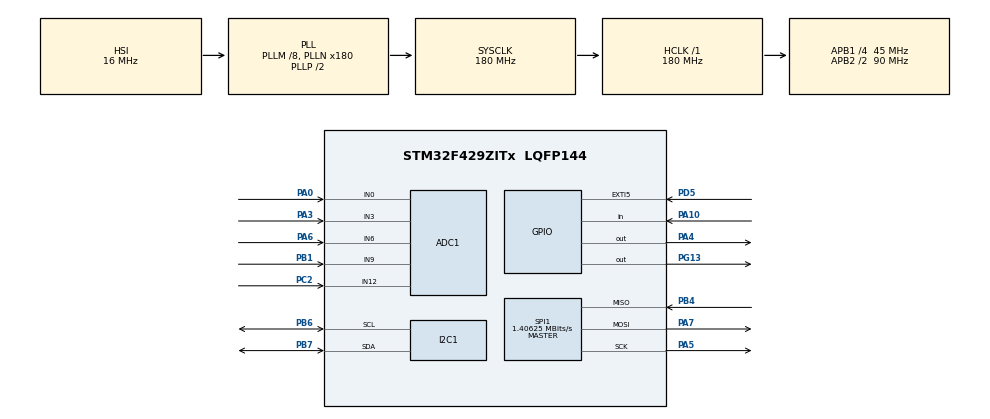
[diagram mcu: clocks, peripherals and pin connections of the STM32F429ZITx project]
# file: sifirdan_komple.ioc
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ADC1.Channel-0\#ChannelRegularConversion=ADC_CHANNEL_0
ADC1.Channel-1\#ChannelRegularConversion=ADC_CHANNEL_3
ADC1.Channel-2\#ChannelRegularConversion=ADC_CHANNEL_6
ADC1.Channel-3\#ChannelRegularConversion=ADC_CHANNEL_9
ADC1.Channel-4\#ChannelRegularConversion=ADC_CHANNEL_12
ADC1.ContinuousConvMode=ENABLE
ADC1.InjNumberOfConversion=0
ADC1.NbrOfConversion=5
ADC1.NbrOfConversionFlag=1
ADC1.Rank-0\#ChannelRegularConversion=1
ADC1.Rank-1\#ChannelRegularConversion=2
ADC1.Rank-2\#ChannelRegularConversion=3
ADC1.Rank-3\#ChannelRegularConversion=4
ADC1.Rank-4\#ChannelRegularConversion=5
ADC1.SamplingTime-0\#ChannelRegularConversion=ADC_SAMPLETIME_3CYCLES
ADC1.SamplingTime-1\#ChannelRegularConversion=ADC_SAMPLETIME_3CYCLES
ADC1.SamplingTime-2\#ChannelRegularConversion=ADC_SAMPLETIME_3CYCLES
ADC1.SamplingTime-3\#ChannelRegularConversion=ADC_SAMPLETIME_3CYCLES
ADC1.SamplingTime-4\#ChannelRegularConversion=ADC_SAMPLETIME_3CYCLES
ADC1.ScanConvMode=ENABLE
ADC1.master=1
Mcu.Family=STM32F4
Mcu.Name=STM32F429ZITx
Mcu.Package=LQFP144
NVIC.PriorityGroup=NVIC_PRIORITYGROUP_4
PA0/WKUP.Signal=ADCx_IN0
PA10.GPIO_PuPd=GPIO_PULLDOWN
PA10.Signal=GPIO_Input
PA3.Signal=ADCx_IN3
PA4.Signal=GPIO_Output
PA5.Mode=Full_Duplex_Master
PA5.Signal=SPI1_SCK
PA6.Signal=ADCx_IN6
PA7.Mode=Full_Duplex_Master
PA7.Signal=SPI1_MOSI
PB1.Signal=ADCx_IN9
PB4.Mode=Full_Duplex_Master
PB4.Signal=SPI1_MISO
PB6.Mode=I2C
PB6.Signal=I2C1_SCL
PB7.Mode=I2C
PB7.Signal=I2C1_SDA
PC2.Signal=ADCx_IN12
PD5.Signal=GPXTI5
PG13.Signal=GPIO_Output
PH0/OSC_IN.Mode=HSE-External-Oscillator
PH0/OSC_IN.Signal=RCC_OSC_IN
PH1/OSC_OUT.Mode=HSE-External-Oscillator
PH1/OSC_OUT.Signal=RCC_OSC_OUT
ProjectManager.HeapSize=0x200
ProjectManager.StackSize=0x800
ProjectManager.TargetToolchain=STM32CubeIDE
RCC.48MHZClocksFreq_Value=90000000
RCC.AHBFreq_Value=180000000
RCC.APB1CLKDivider=RCC_HCLK_DIV4
RCC.APB1Freq_Value=45000000
RCC.APB1TimFreq_Value=90000000
RCC.APB2CLKDivider=RCC_HCLK_DIV2
RCC.APB2Freq_Value=90000000
RCC.APB2TimFreq_Value=180000000
RCC.CortexFreq_Value=180000000
RCC.HCLKFreq_Value=180000000
RCC.HSE_VALUE=8000000
RCC.HSI_VALUE=16000000
RCC.LSE_VALUE=32768
RCC.PLLM=8
RCC.PLLN=180
RCC.SYSCLKFreq_VALUE=180000000
RCC.SYSCLKSource=RCC_SYSCLKSOURCE_PLLCLK
RCC.VCOOutputFreq_Value=360000000
SH.ADCx_IN0.0=ADC1_IN0,IN0
SH.ADCx_IN12.0=ADC1_IN12,IN12
SH.ADCx_IN3.0=ADC1_IN3,IN3
SH.ADCx_IN6.0=ADC1_IN6,IN6
SH.ADCx_IN9.0=ADC1_IN9,IN9
SPI1.BaudRatePrescaler=SPI_BAUDRATEPRESCALER_64
SPI1.CalculateBaudRate=1.40625 MBits/s
SPI1.DataSize=SPI_DATASIZE_16BIT
SPI1.Direction=SPI_DIRECTION_2LINES
SPI1.Mode=SPI_MODE_MASTER
SPI1.VirtualType=VM_MASTER
STMicroelectronics.X-CUBE-AI.5.1.2.ActivationBufferSizeList=208,208
STMicroelectronics.X-CUBE-AI.5.1.2.HeapSize=0x200
STMicroelectronics.X-CUBE-AI.5.1.2.InternalRamActivationBufferMaxSize=AI_GLOVE_MODEL_DATA_ACTIVATIONS_SIZE
STMicroelectronics.X-CUBE-AI.5.1.2.LatestDirectoryUsed-60bdc9860b5cdbafc142abfa9211819a66cd725a07a54aaa1f05be5b7a78c88f=C\:\\Users\\Volkan\\Desktop\\KU SPRING 2023\\ELEC 491
STMicroelectronics.X-CUBE-AI.5.1.2.LatestDirectoryUsed-f183daf8f0f62c7416fb87e7cf1330cbf1399e4ca40a66bd235e36b9904d6a4b=C\:\\Users\\Volkan\\Desktop\\KU SPRING 2023\\ELEC 491
STMicroelectronics.X-CUBE-AI.5.1.2.MaximumNumberOfInputLayer=1
STMicroelectronics.X-CUBE-AI.5.1.2.MaximumNumberOfOutputLayer=1
STMicroelectronics.X-CUBE-AI.5.1.2.MaximumSizeOfInputLayer=AI_GLOVE_MODEL_IN_1_SIZE_BYTES
STMicroelectronics.X-CUBE-AI.5.1.2.MaximumSizeOfOutputLayer=AI_GLOVE_MODEL_OUT_1_SIZE_BYTES
STMicroelectronics.X-CUBE-AI.5.1.2.ModelActualCompression-60bdc9860b5cdbafc142abfa9211819a66cd725a07a54aaa1f05be5b7a78c88f=0.0
STMicroelectronics.X-CUBE-AI.5.1.2.ModelActualCompression-f183daf8f0f62c7416fb87e7cf1330cbf1399e4ca40a66bd235e36b9904d6a4b=0.0
STMicroelectronics.X-CUBE-AI.5.1.2.ModelCompression-60bdc9860b5cdbafc142abfa9211819a66cd725a07a54aaa1f05be5b7a78c88f=1
STMicroelectronics.X-CUBE-AI.5.1.2.ModelCompression-f183daf8f0f62c7416fb87e7cf1330cbf1399e4ca40a66bd235e36b9904d6a4b=1
STMicroelectronics.X-CUBE-AI.5.1.2.ModelFlashOccupation-60bdc9860b5cdbafc142abfa9211819a66cd725a07a54aaa1f05be5b7a78c88f=2308
STMicroelectronics.X-CUBE-AI.5.1.2.ModelFlashOccupation-f183daf8f0f62c7416fb87e7cf1330cbf1399e4ca40a66bd235e36b9904d6a4b=2308
STMicroelectronics.X-CUBE-AI.5.1.2.ModelHashList=f183daf8f0f62c7416fb87e7cf1330cbf1399e4ca40a66bd235e36b9904d6a4b;60bdc9860b5cdbafc142abfa9211819a66cd725a07a54aaa1f05be5b7a78c88f
STMicroelectronics.X-CUBE-AI.5.1.2.ModelKind-60bdc9860b5cdbafc142abfa9211819a66cd725a07a54aaa1f05be5b7a78c88f=TFLITE
STMicroelectronics.X-CUBE-AI.5.1.2.ModelKind-f183daf8f0f62c7416fb87e7cf1330cbf1399e4ca40a66bd235e36b9904d6a4b=TFLITE
STMicroelectronics.X-CUBE-AI.5.1.2.ModelMacc-60bdc9860b5cdbafc142abfa9211819a66cd725a07a54aaa1f05be5b7a78c88f=647
STMicroelectronics.X-CUBE-AI.5.1.2.ModelMacc-f183daf8f0f62c7416fb87e7cf1330cbf1399e4ca40a66bd235e36b9904d6a4b=647
STMicroelectronics.X-CUBE-AI.5.1.2.ModelName-60bdc9860b5cdbafc142abfa9211819a66cd725a07a54aaa1f05be5b7a78c88f=glove_model_1685668263535
STMicroelectronics.X-CUBE-AI.5.1.2.ModelName-f183daf8f0f62c7416fb87e7cf1330cbf1399e4ca40a66bd235e36b9904d6a4b=glove_model
STMicroelectronics.X-CUBE-AI.5.1.2.ModelNameList=glove_model,glove_model_1685668263535
STMicroelectronics.X-CUBE-AI.5.1.2.ModelRamOccupation-60bdc9860b5cdbafc142abfa9211819a66cd725a07a54aaa1f05be5b7a78c88f=208
STMicroelectronics.X-CUBE-AI.5.1.2.ModelRamOccupation-f183daf8f0f62c7416fb87e7cf1330cbf1399e4ca40a66bd235e36b9904d6a4b=208
STMicroelectronics.X-CUBE-AI.5.1.2.ModelStructureFile-60bdc9860b5cdbafc142abfa9211819a66cd725a07a54aaa1f05be5b7a78c88f=C\:\\Users\\Volkan\\Desktop\\KU SPRING 2023\\ELEC 491\\smart_glove.tflite
STMicroelectronics.X-CUBE-AI.5.1.2.ModelStructureFile-f183daf8f0f62c7416fb87e7cf1330cbf1399e4ca40a66bd235e36b9904d6a4b=C\:\\Users\\Volkan\\Desktop\\KU SPRING 2023\\ELEC 491\\smart_glove.tflite
STMicroelectronics.X-CUBE-AI.5.1.2.ModelType-60bdc9860b5cdbafc142abfa9211819a66cd725a07a54aaa1f05be5b7a78c88f=Saved model
STMicroelectronics.X-CUBE-AI.5.1.2.ModelType-f183daf8f0f62c7416fb87e7cf1330cbf1399e4ca40a66bd235e36b9904d6a4b=Saved model
STMicroelectronics.X-CUBE-AI.5.1.2.StackSize=0x800
STMicroelectronics.X-CUBE-AI.5.1.2.WorkingBufferStartAddrList=0xFFFFFFFF,0xFFFFFFFF
STMicroelectronics.X-CUBE-AI.5.1.2.XAaCUBEAaAICcArtificialOoIntelligenceJjCore=true
VP_CRC_VS_CRC.Mode=CRC_Activate
VP_STMicroelectronics.X-CUBE-AI_VS_ArtificialOoIntelligenceJjXAaCUBEAaAI_5.1.2.Mode=ArtificialOoIntelligenceJjXAaCUBEAaAI
board=custom

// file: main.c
/* USER CODE BEGIN Header */
/**
  ******************************************************************************
  * @file           : main.c
  * @brief          : Main program body
  ******************************************************************************
  * @attention
  *
  * Copyright (c) 2023 STMicroelectronics.
  * All rights reserved.
  *
  * This software is licensed under terms that can be found in the LICENSE file
  * in the root directory of this software component.
  * If no LICENSE file comes with this software, it is provided AS-IS.
  *
  ******************************************************************************
  */
/* USER CODE END Header */
#include "main.h"

/* USER CODE BEGIN Includes */
#include <stdio.h>
#include "ai_datatypes_defines.h"
#include "glove_model_data.h"
#include "glove_model.h"
#include "stm32f4xx_hal.h"
#include "TJ_MPU6050.h"
/* USER CODE END Includes */

ADC_HandleTypeDef hadc1;

CRC_HandleTypeDef hcrc;

I2C_HandleTypeDef hi2c1;

SPI_HandleTypeDef hspi1;

void SystemClock_Config(void);
static void MX_GPIO_Init(void);
static void MX_ADC1_Init(void);
static void MX_SPI1_Init(void);
static void MX_CRC_Init(void);
static void MX_I2C1_Init(void);

uint32_t getMax(ai_float out_data[]);
void modifyString(uint32_t data, uint8_t flexdata[4]);

/* USER CODE BEGIN PFP */
uint32_t flex_value1;
uint32_t flex_value2;
uint32_t flex_value3;
uint32_t flex_value4;
uint32_t flex_value5;

/* USER CODE END PFP */

/* USER CODE BEGIN 0 */
void ADC_Select_Channel0(void){
	ADC_ChannelConfTypeDef sConfig = {0};
	  sConfig.Channel = ADC_CHANNEL_0;
	  sConfig.Rank = 1;
	  sConfig.SamplingTime = ADC_SAMPLETIME_3CYCLES;
	  if (HAL_ADC_ConfigChannel(&hadc1, &sConfig) != HAL_OK)
	  {
	    Error_Handler();
	  }
}

void ADC_Select_Channel1(void){
	ADC_ChannelConfTypeDef sConfig = {0};

	  sConfig.Channel = ADC_CHANNEL_3;
	  sConfig.Rank = 1;
	  sConfig.SamplingTime = ADC_SAMPLETIME_3CYCLES;
	  if (HAL_ADC_ConfigChannel(&hadc1, &sConfig) != HAL_OK)
	  {
	    Error_Handler();
	  }
}

void ADC_Select_Channel2(void){
	ADC_ChannelConfTypeDef sConfig = {0};

	  sConfig.Channel = ADC_CHANNEL_6;
	  sConfig.Rank = 1;
	  sConfig.SamplingTime = ADC_SAMPLETIME_3CYCLES;
	  if (HAL_ADC_ConfigChannel(&hadc1, &sConfig) != HAL_OK)
	  {
	    Error_Handler();
	  }
}

void ADC_Select_Channel3(void){
	ADC_ChannelConfTypeDef sConfig = {0};

	  sConfig.Channel = ADC_CHANNEL_9;
	  sConfig.Rank = 1;
	  sConfig.SamplingTime = ADC_SAMPLETIME_3CYCLES;
	  if (HAL_ADC_ConfigChannel(&hadc1, &sConfig) != HAL_OK)
	  {
	    Error_Handler();
	  }
}

void ADC_Select_Channel4(void){
	ADC_ChannelConfTypeDef sConfig = {0};

	  sConfig.Channel = ADC_CHANNEL_12;
	  sConfig.Rank = 1;
	  sConfig.SamplingTime = ADC_SAMPLETIME_3CYCLES;
	  if (HAL_ADC_ConfigChannel(&hadc1, &sConfig) != HAL_OK)
	  {
	    Error_Handler();
	  }
}

/* USER CODE END 0 */

int main(void)
{
  /* USER CODE BEGIN 1 */
	MPU_ConfigTypeDef myMPUConfig;

	RawData_Def myMPUAccelRaw;
	RawData_Def myMPUGyroRaw;
	ScaledData_Def myMPUAccelScaled;
	ScaledData_Def myMPUGyroScaled;
  /* USER CODE END 1 */

  /* MCU Configuration--------------------------------------------------------*/

  /* Reset of all peripherals, Initializes the Flash interface and the Systick. */
  HAL_Init();

  /* Configure the system clock */
  SystemClock_Config();

  /* Initialize all configured peripherals */
  MX_GPIO_Init();
  MX_ADC1_Init();
  MX_SPI1_Init();
  MX_CRC_Init();
  MX_I2C1_Init();

  MPU6050_Init(&hi2c1);

  myMPUConfig.ClockSource=Internal_8MHz;
  myMPUConfig.Gyro_Full_Scale=FS_SEL_500;
  myMPUConfig.Accel_Full_Scale=AFS_SEL_4g;
  myMPUConfig.CONFIG_DLPF=DLPF_184A_188G_Hz;
  myMPUConfig.Sleep_Mode_Bit=0;
  MPU6050_Config(&myMPUConfig);

  /* USER CODE BEGIN 2 */
  ai_error ai_err;
  ai_i32 nbatch;

  AI_ALIGNED(4) ai_u8 activations[AI_GLOVE_MODEL_DATA_ACTIVATIONS_SIZE];

  AI_ALIGNED(4) ai_float in_data[AI_GLOVE_MODEL_IN_1_SIZE];
  AI_ALIGNED(4) ai_float out_data[AI_GLOVE_MODEL_IN_1_SIZE];

  ai_handle glove_model= AI_HANDLE_NULL;

  ai_buffer ai_input[AI_GLOVE_MODEL_IN_NUM]=AI_GLOVE_MODEL_IN;
  ai_buffer ai_output[AI_GLOVE_MODEL_OUT_NUM]=AI_GLOVE_MODEL_OUT;

  ai_network_params ai_params={
  		  AI_GLOVE_MODEL_DATA_WEIGHTS(ai_glove_model_data_weights_get()),
  		  AI_GLOVE_MODEL_DATA_ACTIVATIONS(activations)
    };
  ai_input[0].n_batches=1;
  ai_input[0].data=AI_HANDLE_PTR(in_data);
  ai_output[0].n_batches=1;
  ai_output[0].data=AI_HANDLE_PTR(out_data);

  ai_err=ai_glove_model_create(&glove_model, AI_GLOVE_MODEL_DATA_CONFIG);
  if(ai_err.type!=AI_ERROR_NONE){
  }

  if(!ai_glove_model_init(glove_model,&ai_params)){
  }

  uint8_t data[4];

  uint32_t result;

  int triggered=0;

  /* USER CODE END 2 */

  /* Infinite loop */
  /* USER CODE BEGIN WHILE */

  while (1)
  {
	  MPU6050_Get_Accel_RawData(&myMPUAccelRaw);
	  MPU6050_Get_Gyro_RawData(&myMPUGyroRaw);

	  MPU6050_Get_Accel_Scale(&myMPUAccelScaled);
	  MPU6050_Get_Gyro_Scale(&myMPUGyroScaled);

	  	  	  	  if(myMPUGyroRaw.x<-10000 && triggered==1){
	  	  	  		  triggered=0;
	  	  	  	  }

	  	  	  	  if(myMPUGyroRaw.x>10000 && triggered==0){

	  	  	  		  	  	  triggered=1;

	  	  	  	  	  	  	  ADC_Select_Channel0();
	  	  	  	  	  	 	  HAL_ADC_Start(&hadc1);
	  	  	  	  	  	 	  HAL_ADC_PollForConversion(&hadc1,1000);
	  	  	  	  	  	 	  flex_value1=HAL_ADC_GetValue(&hadc1);
	  	  	  	  	  	 	  HAL_ADC_Stop(&hadc1);

	  	  	  	  	  	 	  ADC_Select_Channel1();
	  	  	  	  	  	 	  HAL_ADC_Start(&hadc1);
	  	  	  	  	  	 	  HAL_ADC_PollForConversion(&hadc1,1000);
	  	  	  	  	  	 	  flex_value2=HAL_ADC_GetValue(&hadc1);
	  	  	  	  	  	 	  HAL_ADC_Stop(&hadc1);

	  	  	  	  	  	 	  ADC_Select_Channel2();
	  	  	  	  	  	 	  HAL_ADC_Start(&hadc1);
	  	  	  	  	  	 	  HAL_ADC_PollForConversion(&hadc1,1000);
	  	  	  	  	  	 	  flex_value3=HAL_ADC_GetValue(&hadc1);
	  	  	  	  	  	 	  HAL_ADC_Stop(&hadc1);

	  	  	  	  	  	 	  ADC_Select_Channel3();
	  	  	  	  	  	 	  HAL_ADC_Start(&hadc1);
	  	  	  	  	  	 	  HAL_ADC_PollForConversion(&hadc1,1000);
	  	  	  	  	  	 	  flex_value4=HAL_ADC_GetValue(&hadc1);
	  	  	  	  	  	 	  HAL_ADC_Stop(&hadc1);

	  	  	  	  	  	 	  ADC_Select_Channel4();
	  	  	  	  	  	 	  HAL_ADC_Start(&hadc1);
	  	  	  	  	  	 	  HAL_ADC_PollForConversion(&hadc1,1000);
	  	  	  	  	  	 	  flex_value5=HAL_ADC_GetValue(&hadc1);
	  	  	  	  	  	 	  HAL_ADC_Stop(&hadc1);

	  	  	  	  	  	 	  HAL_Delay(2);
	  	  	  	  	  		  ((ai_float *)in_data)[0]=(ai_float)flex_value1;
	  	  	  	  	  		  ((ai_float *)in_data)[1]=(ai_float)flex_value2;
	  	  	  	  	  		  ((ai_float *)in_data)[2]=(ai_float)flex_value3;
	  	  	  	  	  		  ((ai_float *)in_data)[3]=(ai_float)flex_value4;
	  	  	  	  	  		  ((ai_float *)in_data)[4]=(ai_float)flex_value5;

	  	  	  	  	  		  nbatch=ai_glove_model_run(glove_model, &ai_input[0],&ai_output[0]);
	  	  	  	  	  		  if(nbatch!=1){
	  	  	  	  	  		  }

	  	  	  	  	  		  result=getMax(out_data);
	  	  	  	  	  		  modifyString(result,data);
	  	  	  	  	  		  HAL_GPIO_WritePin(GPIOA,GPIO_PIN_4, GPIO_PIN_RESET);
	  	  	  	  	  		  HAL_SPI_Transmit(&hspi1, (uint16_t*)data, 2, 100);
	  	  	  	  	  		  HAL_Delay(2);
	  	  	  	  	  		  HAL_GPIO_WritePin(GPIOA,GPIO_PIN_4, GPIO_PIN_SET);

    /* USER CODE END WHILE */

  }
}

}

void SystemClock_Config(void)
{
  RCC_OscInitTypeDef RCC_OscInitStruct = {0};
  RCC_ClkInitTypeDef RCC_ClkInitStruct = {0};

  /** Configure the main internal regulator output voltage
  */
  __HAL_RCC_PWR_CLK_ENABLE();
  __HAL_PWR_VOLTAGESCALING_CONFIG(PWR_REGULATOR_VOLTAGE_SCALE1);

  /** Initializes the RCC Oscillators according to the specified parameters
  * in the RCC_OscInitTypeDef structure.
  */
  RCC_OscInitStruct.OscillatorType = RCC_OSCILLATORTYPE_HSI;
  RCC_OscInitStruct.HSIState = RCC_HSI_ON;
  RCC_OscInitStruct.HSICalibrationValue = RCC_HSICALIBRATION_DEFAULT;
  RCC_OscInitStruct.PLL.PLLState = RCC_PLL_ON;
  RCC_OscInitStruct.PLL.PLLSource = RCC_PLLSOURCE_HSI;
  RCC_OscInitStruct.PLL.PLLM = 8;
  RCC_OscInitStruct.PLL.PLLN = 180;
  RCC_OscInitStruct.PLL.PLLP = RCC_PLLP_DIV2;
  RCC_OscInitStruct.PLL.PLLQ = 4;
  if (HAL_RCC_OscConfig(&RCC_OscInitStruct) != HAL_OK)
  {
    Error_Handler();
  }

  /** Activate the Over-Drive mode
  */
  if (HAL_PWREx_EnableOverDrive() != HAL_OK)
  {
    Error_Handler();
  }

  /** Initializes the CPU, AHB and APB buses clocks
  */
  RCC_ClkInitStruct.ClockType = RCC_CLOCKTYPE_HCLK|RCC_CLOCKTYPE_SYSCLK
                              |RCC_CLOCKTYPE_PCLK1|RCC_CLOCKTYPE_PCLK2;
  RCC_ClkInitStruct.SYSCLKSource = RCC_SYSCLKSOURCE_PLLCLK;
  RCC_ClkInitStruct.AHBCLKDivider = RCC_SYSCLK_DIV1;
  RCC_ClkInitStruct.APB1CLKDivider = RCC_HCLK_DIV4;
  RCC_ClkInitStruct.APB2CLKDivider = RCC_HCLK_DIV2;

  if (HAL_RCC_ClockConfig(&RCC_ClkInitStruct, FLASH_LATENCY_5) != HAL_OK)
  {
    Error_Handler();
  }
}

static void MX_ADC1_Init(void)
{

  ADC_ChannelConfTypeDef sConfig = {0};

  /** Configure the global features of the ADC (Clock, Resolution, Data Alignment and number of conversion)
  */
  hadc1.Instance = ADC1;
  hadc1.Init.ClockPrescaler = ADC_CLOCK_SYNC_PCLK_DIV4;
  hadc1.Init.Resolution = ADC_RESOLUTION_12B;
  hadc1.Init.ScanConvMode = ENABLE;
  hadc1.Init.ContinuousConvMode = ENABLE;
  hadc1.Init.DiscontinuousConvMode = DISABLE;
  hadc1.Init.ExternalTrigConvEdge = ADC_EXTERNALTRIGCONVEDGE_NONE;
  hadc1.Init.ExternalTrigConv = ADC_SOFTWARE_START;
  hadc1.Init.DataAlign = ADC_DATAALIGN_RIGHT;
  hadc1.Init.NbrOfConversion = 5;
  hadc1.Init.DMAContinuousRequests = DISABLE;
  hadc1.Init.EOCSelection = ADC_EOC_SINGLE_CONV;
  if (HAL_ADC_Init(&hadc1) != HAL_OK)
  {
    Error_Handler();
  }

  /** Configure for the selected ADC regular channel its corresponding rank in the sequencer and its sample time.
  */
  sConfig.Channel = ADC_CHANNEL_0;
  sConfig.Rank = 1;
  sConfig.SamplingTime = ADC_SAMPLETIME_3CYCLES;
  if (HAL_ADC_ConfigChannel(&hadc1, &sConfig) != HAL_OK)
  {
    Error_Handler();
  }

  /** Configure for the selected ADC regular channel its corresponding rank in the sequencer and its sample time.
  */
  sConfig.Channel = ADC_CHANNEL_3;
  sConfig.Rank = 2;
  if (HAL_ADC_ConfigChannel(&hadc1, &sConfig) != HAL_OK)
  {
    Error_Handler();
  }

  /** Configure for the selected ADC regular channel its corresponding rank in the sequencer and its sample time.
  */
  sConfig.Channel = ADC_CHANNEL_6;
  sConfig.Rank = 3;
  if (HAL_ADC_ConfigChannel(&hadc1, &sConfig) != HAL_OK)
  {
    Error_Handler();
  }

  /** Configure for the selected ADC regular channel its corresponding rank in the sequencer and its sample time.
  */
  sConfig.Channel = ADC_CHANNEL_9;
  sConfig.Rank = 4;
  if (HAL_ADC_ConfigChannel(&hadc1, &sConfig) != HAL_OK)
  {
    Error_Handler();
  }

  /** Configure for the selected ADC regular channel its corresponding rank in the sequencer and its sample time.
  */
  sConfig.Channel = ADC_CHANNEL_12;
  sConfig.Rank = 5;
  if (HAL_ADC_ConfigChannel(&hadc1, &sConfig) != HAL_OK)
  {
    Error_Handler();
  }

}

static void MX_CRC_Init(void)
{

  hcrc.Instance = CRC;
  if (HAL_CRC_Init(&hcrc) != HAL_OK)
  {
    Error_Handler();
  }

}

static void MX_I2C1_Init(void)
{

  hi2c1.Instance = I2C1;
  hi2c1.Init.ClockSpeed = 100000;
  hi2c1.Init.DutyCycle = I2C_DUTYCYCLE_2;
  hi2c1.Init.OwnAddress1 = 0;
  hi2c1.Init.AddressingMode = I2C_ADDRESSINGMODE_7BIT;
  hi2c1.Init.DualAddressMode = I2C_DUALADDRESS_DISABLE;
  hi2c1.Init.OwnAddress2 = 0;
  hi2c1.Init.GeneralCallMode = I2C_GENERALCALL_DISABLE;
  hi2c1.Init.NoStretchMode = I2C_NOSTRETCH_DISABLE;
  if (HAL_I2C_Init(&hi2c1) != HAL_OK)
  {
    Error_Handler();
  }

  /** Configure Analogue filter
  */
  if (HAL_I2CEx_ConfigAnalogFilter(&hi2c1, I2C_ANALOGFILTER_ENABLE) != HAL_OK)
  {
    Error_Handler();
  }

  /** Configure Digital filter
  */
  if (HAL_I2CEx_ConfigDigitalFilter(&hi2c1, 0) != HAL_OK)
  {
    Error_Handler();
  }

}

static void MX_SPI1_Init(void)
{

  /* SPI1 parameter configuration*/
  hspi1.Instance = SPI1;
  hspi1.Init.Mode = SPI_MODE_MASTER;
  hspi1.Init.Direction = SPI_DIRECTION_2LINES;
  hspi1.Init.DataSize = SPI_DATASIZE_16BIT;
  hspi1.Init.CLKPolarity = SPI_POLARITY_LOW;
  hspi1.Init.CLKPhase = SPI_PHASE_1EDGE;
  hspi1.Init.NSS = SPI_NSS_SOFT;
  hspi1.Init.BaudRatePrescaler = SPI_BAUDRATEPRESCALER_64;
  hspi1.Init.FirstBit = SPI_FIRSTBIT_MSB;
  hspi1.Init.TIMode = SPI_TIMODE_DISABLE;
  hspi1.Init.CRCCalculation = SPI_CRCCALCULATION_DISABLE;
  hspi1.Init.CRCPolynomial = 10;
  if (HAL_SPI_Init(&hspi1) != HAL_OK)
  {
    Error_Handler();
  }

}

static void MX_GPIO_Init(void)
{
  GPIO_InitTypeDef GPIO_InitStruct = {0};

  /* GPIO Ports Clock Enable */
  __HAL_RCC_GPIOH_CLK_ENABLE();
  __HAL_RCC_GPIOC_CLK_ENABLE();
  __HAL_RCC_GPIOA_CLK_ENABLE();
  __HAL_RCC_GPIOB_CLK_ENABLE();
  __HAL_RCC_GPIOD_CLK_ENABLE();
  __HAL_RCC_GPIOG_CLK_ENABLE();

  /*Configure GPIO pin Output Level */
  HAL_GPIO_WritePin(GPIOA, GPIO_PIN_4, GPIO_PIN_RESET);

  /*Configure GPIO pin Output Level */
  HAL_GPIO_WritePin(GPIOG, GPIO_PIN_13, GPIO_PIN_RESET);

  /*Configure GPIO pin : PA4 */
  GPIO_InitStruct.Pin = GPIO_PIN_4;
  GPIO_InitStruct.Mode = GPIO_MODE_OUTPUT_PP;
  GPIO_InitStruct.Pull = GPIO_NOPULL;
  GPIO_InitStruct.Speed = GPIO_SPEED_FREQ_LOW;
  HAL_GPIO_Init(GPIOA, &GPIO_InitStruct);

  /*Configure GPIO pin : PA10 */
  GPIO_InitStruct.Pin = GPIO_PIN_10;
  GPIO_InitStruct.Mode = GPIO_MODE_INPUT;
  GPIO_InitStruct.Pull = GPIO_PULLDOWN;
  HAL_GPIO_Init(GPIOA, &GPIO_InitStruct);

  /*Configure GPIO pin : PD5 */
  GPIO_InitStruct.Pin = GPIO_PIN_5;
  GPIO_InitStruct.Mode = GPIO_MODE_IT_RISING;
  GPIO_InitStruct.Pull = GPIO_NOPULL;
  HAL_GPIO_Init(GPIOD, &GPIO_InitStruct);

  /*Configure GPIO pin : PG13 */
  GPIO_InitStruct.Pin = GPIO_PIN_13;
  GPIO_InitStruct.Mode = GPIO_MODE_OUTPUT_PP;
  GPIO_InitStruct.Pull = GPIO_NOPULL;
  GPIO_InitStruct.Speed = GPIO_SPEED_FREQ_LOW;
  HAL_GPIO_Init(GPIOG, &GPIO_InitStruct);

}

/* USER CODE BEGIN 4 */
void modifyString(uint32_t data, uint8_t flexdata[4]){

	sprintf(flexdata, "%d",data);
	char first=flexdata[1];
	char second=flexdata[0];
	flexdata[0]=first;
	flexdata[1]=second;
	first=flexdata[3];
	second=flexdata[2];
	flexdata[2]=first;
	flexdata[3]=second;
}

uint32_t getMax(ai_float out_data[]){
	ai_float max=out_data[0];
	int max_index=0;
	for(int i=1; i<5;i++){
		if(out_data[i]>max){
			max=out_data[i];
			max_index=i;
		}
	}
	max_index++;
	if(max<0.95){
		max_index=9;
	}
	return (uint32_t) max_index;
}
/* USER CODE END 4 */

void Error_Handler(void)
{
  __disable_irq();
  while (1)
  {
  }
}
